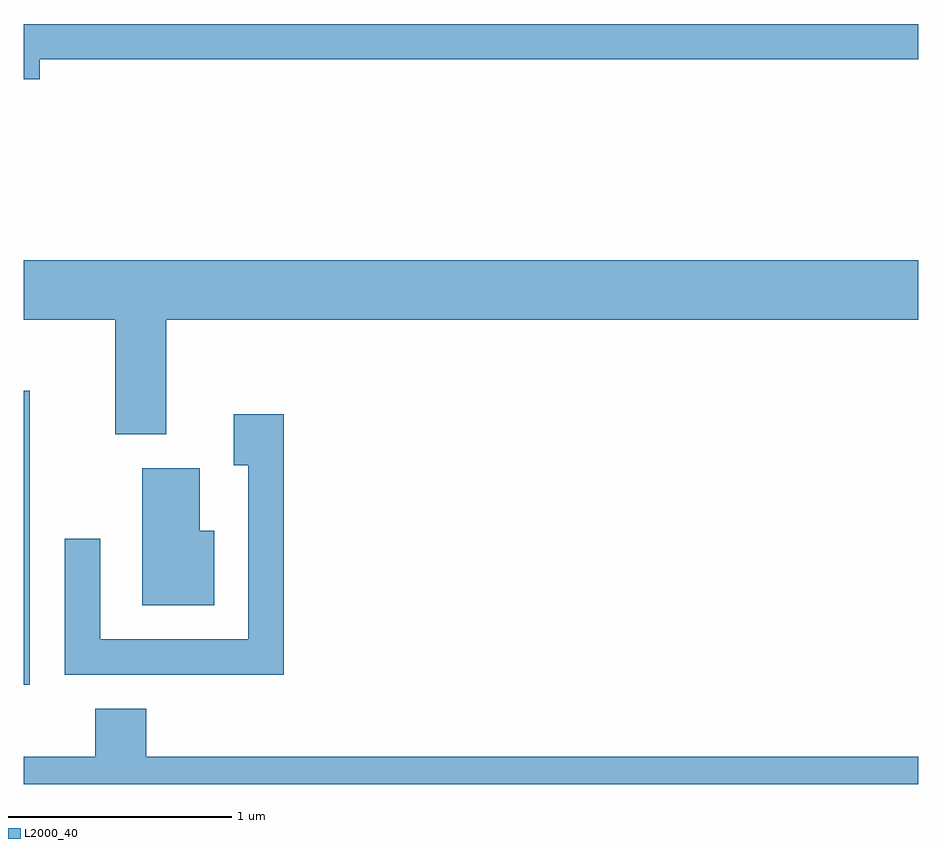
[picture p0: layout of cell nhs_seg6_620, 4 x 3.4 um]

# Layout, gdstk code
import gdstk
lib = gdstk.Library(unit=1e-6, precision=1e-09)
def R(c, l, rs):  # rectangles x0, y0, x1, y1
    for r in rs: c.add(gdstk.rectangle(r[:2], r[2:], *l))
def P(c, l, *ps):  # polygons
    for p in ps: c.add(gdstk.Polygon(p, *l))
L2000_40 = (2000, 40)

nhs_seg6_620 = lib.new_cell('nhs_seg6_620')
R(nhs_seg6_620, L2000_40, [(203.611,1570.606,203.639,1571.919)])
P(nhs_seg6_620, L2000_40, [(203.684,1573.401),(207.611,1573.401),(207.611,1573.559),(203.611,1573.559),(203.611,1573.311),(203.684,1573.311)],
  [(204.249,1572.236),(207.611,1572.236),(207.611,1572.504),(203.611,1572.504),(203.611,1572.236),(204.021,1572.236),(204.021,1571.726),(204.249,1571.726)],
  [(204.774,1571.814),(204.551,1571.814),(204.551,1571.586),(204.616,1571.586),(204.616,1570.809),(203.954,1570.809),(203.954,1571.258),(203.796,1571.258),(203.796,1570.651),(204.774,1570.651)],
  [(204.464,1571.294),(204.399,1571.294),(204.399,1571.574),(204.141,1571.574),(204.141,1570.961),(204.464,1570.961)],
  [(207.611,1570.284),(204.159,1570.284),(204.159,1570.499),(203.931,1570.499),(203.931,1570.284),(203.611,1570.284),(203.611,1570.162),(207.611,1570.162)])

lib.write_gds('nhs_seg6_620.gds')
